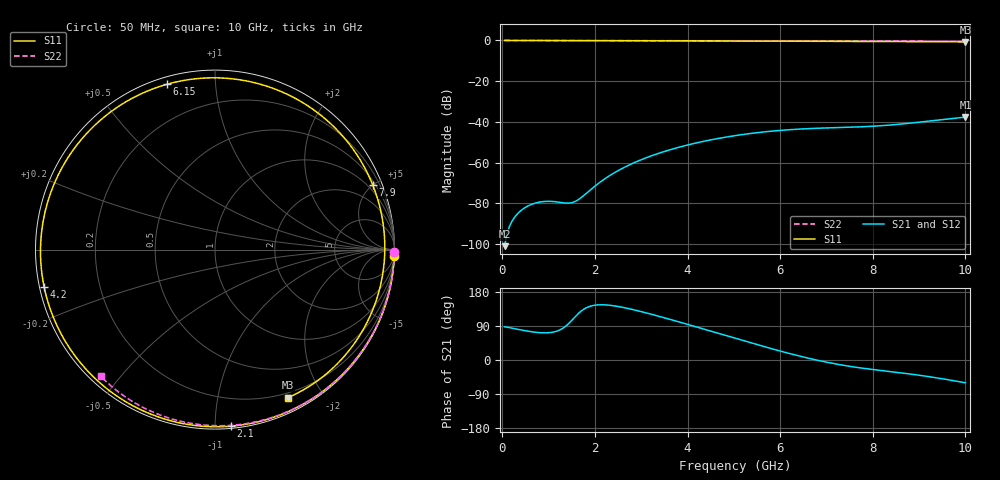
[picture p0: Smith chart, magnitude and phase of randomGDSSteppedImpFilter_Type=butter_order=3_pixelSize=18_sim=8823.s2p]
! freq	dB(S11)	phase(S11)	dB(S12)	phase(S12)
!  dB(S21)	phase(S21)	dB(S22)	phase(S22)
!S-par simulation data
#  GHz  S  DB  R 50
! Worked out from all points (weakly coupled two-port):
!   200 points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, 50 MHz to 10 GHz, reference 50 ohm
!   highest |S21| = -37.67 dB at 10 GHz (marker M1); lowest = -101.1 dB at 50 MHz (marker M2)
!   lowest |S11| = -0.7 dB at 10 GHz (marker M3), VSWR 23.89, Z = 7.46 - j79.8 ohm
!   |S11| at or under -10 dB: nowhere
!   |S22| runs from -0.4 to 0.0 dB; largest |S21 - S12| = 0
!   S11 on the Smith chart (normalised r, x): 50 MHz: 1, -54; 2.1 GHz: 0.01, -1.09; 4.2 GHz: 0.01, -0.11; 6.15 GHz: 0.03, +0.75; 7.9 GHz: 0.69, +5.02; 10 GHz: 0.15, -1.60
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0.05  -0.01 -2.1  -101.12 87.5  -101.12 87.5  -0.00 -0.8
0.7  -0.03 -28.9  -80.04 73.4  -80.04 73.4  -0.01 -10.6
1  -0.05 -41.1  -79.07 72.0  -79.07 72.0  -0.02 -15.1
1.45  -0.07 -59.2  -79.93 98.2  -79.93 98.2  -0.03 -21.9
1.6  -0.08 -65.2  -78.84 117.6  -78.84 117.6  -0.03 -24.1
1.75  -0.09 -71.1  -76.39 133.3  -76.39 133.3  -0.03 -26.3
2.1  -0.11 -84.9  -69.86 145.7  -69.86 145.7  -0.04 -31.4
2.75  -0.14 -110.3  -61.10 135.0  -61.10 135.0  -0.05 -40.9
3.4  -0.17 -135.7  -55.30 114.7  -55.30 114.7  -0.07 -50.1
4.2  -0.22 -167.6  -50.32 86.9  -50.32 86.9  -0.09 -61.1
4.65  -0.26 173.7  -48.22 70.8  -48.22 70.8  -0.10 -67.2
5.05  -0.28 156.5  -46.70 56.5  -46.70 56.5  -0.11 -72.5
5.55  -0.32 134.2  -45.21 38.9  -45.21 38.9  -0.13 -79.0
6.15  -0.36 106.1  -43.95 18.8  -43.95 18.8  -0.15 -86.6
6.7  -0.39 79.6  -43.25 2.2  -43.25 2.2  -0.18 -93.4
7.25  -0.42 52.9  -42.82 -11.5  -42.82 -11.5  -0.21 -100.1
7.9  -0.45 22.2  -42.28 -23.5  -42.28 -23.5  -0.25 -107.8
8.35  -0.48 1.9  -41.62 -30.1  -41.62 -30.1  -0.29 -113.1
8.7  -0.51 -13.1  -40.90 -35.2  -40.90 -35.2  -0.32 -117.2
9.1  -0.56 -29.5  -39.93 -41.9  -39.93 -41.9  -0.35 -121.8
9.55  -0.63 -47.0  -38.79 -50.5  -38.79 -50.5  -0.40 -126.9
10  -0.73 -63.8  -37.67 -60.1  -37.67 -60.1  -0.44 -132.1
